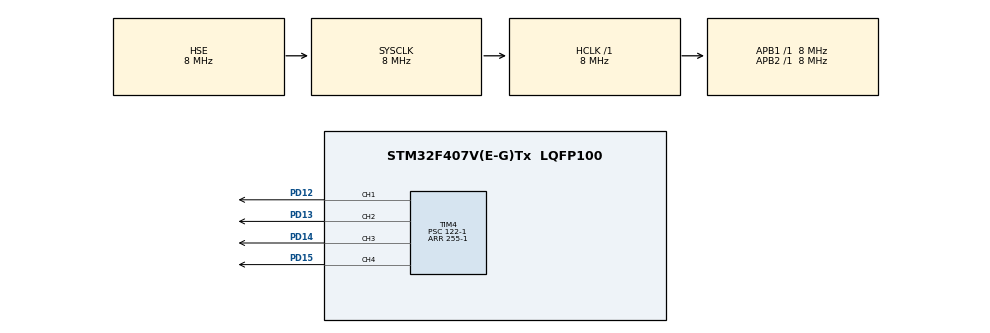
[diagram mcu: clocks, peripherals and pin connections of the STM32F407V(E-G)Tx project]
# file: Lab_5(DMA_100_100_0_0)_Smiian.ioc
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Dma.Request0=TIM4_CH1
Dma.TIM4_CH1.0.Direction=DMA_MEMORY_TO_PERIPH
Dma.TIM4_CH1.0.FIFOMode=DMA_FIFOMODE_DISABLE
Dma.TIM4_CH1.0.Instance=DMA1_Stream0
Dma.TIM4_CH1.0.MemDataAlignment=DMA_MDATAALIGN_HALFWORD
Dma.TIM4_CH1.0.MemInc=DMA_MINC_ENABLE
Dma.TIM4_CH1.0.Mode=DMA_CIRCULAR
Dma.TIM4_CH1.0.PeriphDataAlignment=DMA_PDATAALIGN_HALFWORD
Dma.TIM4_CH1.0.PeriphInc=DMA_PINC_DISABLE
Dma.TIM4_CH1.0.Priority=DMA_PRIORITY_LOW
Mcu.Family=STM32F4
Mcu.Name=STM32F407V(E-G)Tx
Mcu.Package=LQFP100
NVIC.DMA1_Stream0_IRQn=true\:0\:0\:false\:false\:true\:false\:true\:true
NVIC.PriorityGroup=NVIC_PRIORITYGROUP_4
NVIC.TIM4_IRQn=true\:0\:0\:false\:false\:true\:true\:true\:true
PA13.Mode=Serial_Wire
PA13.Signal=SYS_JTMS-SWDIO
PA14.Mode=Serial_Wire
PA14.Signal=SYS_JTCK-SWCLK
PD12.Signal=S_TIM4_CH1
PD13.Signal=S_TIM4_CH2
PD14.Signal=S_TIM4_CH3
PD15.Signal=S_TIM4_CH4
PH0-OSC_IN.Mode=HSE-External-Oscillator
PH0-OSC_IN.Signal=RCC_OSC_IN
PH1-OSC_OUT.Mode=HSE-External-Oscillator
PH1-OSC_OUT.Signal=RCC_OSC_OUT
ProjectManager.HeapSize=0x200
ProjectManager.StackSize=0x400
ProjectManager.TargetToolchain=MDK-ARM V5.32
RCC.AHBFreq_Value=8000000
RCC.APB1Freq_Value=8000000
RCC.APB1TimFreq_Value=8000000
RCC.APB2Freq_Value=8000000
RCC.APB2TimFreq_Value=8000000
RCC.CortexFreq_Value=8000000
RCC.HCLKFreq_Value=8000000
RCC.HSE_VALUE=8000000
RCC.HSI_VALUE=16000000
RCC.LSE_VALUE=32768
RCC.SYSCLKFreq_VALUE=8000000
RCC.SYSCLKSource=RCC_SYSCLKSOURCE_HSE
RCC.VCOOutputFreq_Value=192000000
SH.S_TIM4_CH1.0=TIM4_CH1,PWM Generation1 CH1
SH.S_TIM4_CH2.0=TIM4_CH2,PWM Generation2 CH2
SH.S_TIM4_CH3.0=TIM4_CH3,PWM Generation3 CH3
SH.S_TIM4_CH4.0=TIM4_CH4,PWM Generation4 CH4
TIM4.AutoReloadPreload=TIM_AUTORELOAD_PRELOAD_DISABLE
TIM4.Channel-PWM\ Generation1\ CH1=TIM_CHANNEL_1
TIM4.Channel-PWM\ Generation2\ CH2=TIM_CHANNEL_2
TIM4.Channel-PWM\ Generation3\ CH3=TIM_CHANNEL_3
TIM4.Channel-PWM\ Generation4\ CH4=TIM_CHANNEL_4
TIM4.OC1Preload_PWM=DISABLE
TIM4.OC2Preload_PWM=DISABLE
TIM4.OC3Preload_PWM=DISABLE
TIM4.OC4Preload_PWM=DISABLE
TIM4.OCFastMode_PWM-PWM\ Generation1\ CH1=TIM_OCFAST_DISABLE
TIM4.OCFastMode_PWM-PWM\ Generation2\ CH2=TIM_OCFAST_DISABLE
TIM4.OCFastMode_PWM-PWM\ Generation3\ CH3=TIM_OCFAST_DISABLE
TIM4.OCFastMode_PWM-PWM\ Generation4\ CH4=TIM_OCFAST_DISABLE
TIM4.OCMode_PWM-PWM\ Generation1\ CH1=TIM_OCMODE_PWM2
TIM4.OCMode_PWM-PWM\ Generation2\ CH2=TIM_OCMODE_PWM2
TIM4.OCMode_PWM-PWM\ Generation3\ CH3=TIM_OCMODE_PWM2
TIM4.OCMode_PWM-PWM\ Generation4\ CH4=TIM_OCMODE_PWM2
TIM4.OCPolarity_1=TIM_OCPOLARITY_LOW
TIM4.OCPolarity_2=TIM_OCPOLARITY_LOW
TIM4.OCPolarity_3=TIM_OCPOLARITY_LOW
TIM4.OCPolarity_4=TIM_OCPOLARITY_LOW
TIM4.Period=255-1
TIM4.Prescaler=122-1
VP_TIM4_VS_ClockSourceINT.Mode=Internal
board=custom

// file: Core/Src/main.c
/* USER CODE BEGIN Header */
/**
  ******************************************************************************
  * @file           : main.c
  * @brief          : Main program body
  ******************************************************************************
  * @attention
  *
  * Copyright (c) 2024 STMicroelectronics.
  * All rights reserved.
  *
  * This software is licensed under terms that can be found in the LICENSE file
  * in the root directory of this software component.
  * If no LICENSE file comes with this software, it is provided AS-IS.
  *
  ******************************************************************************
  */
/* USER CODE END Header */
#include "main.h"
#include "dma.h"
#include "tim.h"
#include "gpio.h"

/* USER CODE BEGIN Includes */
#include "tim.h"
#include "gpio.h"
/* USER CODE END Includes */

/* USER CODE BEGIN PTD */
typedef enum
{
    LEDS_PWM_CALLB = 0
}flags_e_t;

typedef enum
{
    RED = 0,
    BLUE,
    GREEN,
    ORANGE,
    LEDS_ALL
}leds_color_e_t;

typedef enum
{
    REVERSE = 0,
    FORWARD
}directions_e_t;

typedef struct
{
    directions_e_t led_dir;
    uint8_t        led_ptr;
    uint32_t       led_ch;
}leds_config_s_t;

leds_config_s_t leds_config[LEDS_ALL] = {0};
/* USER CODE END PTD */

/* USER CODE BEGIN PD */
#define LEDS_PWM_TIM htim4
#define MAX_VALUE 255
#define MIN_VALUE 5
#define LEDS_WAVE_LENGTH 255
/* USER CODE END PD */

/* USER CODE BEGIN PM */
#define __FLAG_SET(flag_bit)   main_flags |= (1 << flag_bit)
#define __FLAG_RESET(flag_bit) main_flags &= (~ (1 << flag_bit))
#define __FLAG_CHECK(flag_bit) main_flags &= (1 << flag_bit)
/* USER CODE END PM */

/* USER CODE BEGIN PV */
uint32_t main_flags = 0;
const uint8_t LEDS_WAVE[LEDS_WAVE_LENGTH] =
{
    0,    0,    0,    0,    0,    0,    0,    0,    0,    0,    1,    1,    1,    1,    1,    1,
    1,    1,    1,    2,    2,    2,    2,    2,    2,    2,    2,    3,    3,    3,    3,    3,
    3,    3,    4,    4,    4,    4,    4,    5,    5,    5,    5,    5,    6,    6,    6,    6,
    6,    7,    7,    7,    7,    8,    8,    8,    8,    9,    9,    9,   10,   10,   10,   11,
   11,   11,   12,   12,   12,   13,   13,   13,   14,   14,   14,   15,   15,   16,   16,   16,
   17,   17,   18,   18,   19,   19,   20,   20,   21,   21,   22,   22,   23,   23,   24,   24,
   25,   25,   26,   26,   27,   28,   28,   29,   29,   30,   31,   31,   32,   33,   33,   34,
   35,   35,   36,   37,   37,   38,   39,   40,   40,   41,   42,   43,   44,   44,   45,   46,
   47,   48,   49,   49,   50,   51,   52,   53,   54,   55,   56,   57,   58,   59,   60,   61,
   62,   63,   64,   65,   66,   67,   68,   69,   70,   71,   72,   73,   75,   76,   77,   78,
   79,   80,   82,   83,   84,   85,   87,   88,   89,   90,   92,   93,   94,   96,   97,   99,
  100,  101,  103,  104,  106,  107,  108,  110,  111,  113,  114,  116,  118,  119,  121,  122,
  124,  125,  127,  129,  130,  132,  134,  135,  137,  139,  141,  142,  144,  146,  148,  149,
  151,  153,  155,  157,  159,  161,  162,  164,  166,  168,  170,  172,  174,  176,  178,  180,
  182,  185,  187,  189,  191,  193,  195,  197,  200,  202,  204,  206,  208,  211,  213,  215,
  218,  220,  222,  225,  227,  230,  232,  234,  237,  239,  242,  244,  247,  249,  252,  255,
};
/* USER CODE END PV */

void SystemClock_Config(void);
/* USER CODE BEGIN PFP */
void LEDS_PWM_Start (uint8_t RED_Start_Point, uint8_t BLUE_Start_Point, uint8_t GREEN_Start_Point, uint8_t ORANGE_Start_Point);
void LEDS_PWM_Step ();
/* USER CODE END PFP */

/* USER CODE BEGIN 0 */
void Leds_PWM_Start (uint8_t RED_Start_Point, uint8_t BLUE_Start_Point, uint8_t GREEN_Start_Point, uint8_t ORANGE_Start_Point)
{
    uint8_t start_points [LEDS_ALL] = {RED_Start_Point, BLUE_Start_Point, GREEN_Start_Point, ORANGE_Start_Point};
    for(leds_color_e_t color = RED; color < LEDS_ALL; color++)
    {
        leds_config[color].led_dir = FORWARD;
        if (start_points [color] > MAX_VALUE)
        {
            leds_config[color].led_ptr = MAX_VALUE;
        }
        else
        {
            leds_config[color].led_ptr = start_points[color];
        }
    }
    leds_config[RED].led_ch    = TIM_CHANNEL_1;
    leds_config[BLUE].led_ch   = TIM_CHANNEL_2;
    leds_config[GREEN].led_ch  = TIM_CHANNEL_3;
    leds_config[ORANGE].led_ch = TIM_CHANNEL_4;
    __HAL_TIM_ENABLE_IT (&LEDS_PWM_TIM, TIM_IT_UPDATE);
    HAL_TIM_PWM_Start (&LEDS_PWM_TIM, leds_config[RED].led_ch);
    HAL_TIM_PWM_Start (&LEDS_PWM_TIM, leds_config[BLUE].led_ch);
    HAL_TIM_PWM_Start (&LEDS_PWM_TIM, leds_config[GREEN].led_ch);
    HAL_TIM_PWM_Start (&LEDS_PWM_TIM, leds_config[ORANGE].led_ch);
}

void Leds_PWM_Step ()
{
    for (leds_color_e_t color = RED; color < LEDS_ALL; color++)
    {
        switch (leds_config[color].led_dir)
        {
            case FORWARD:
            {
                if (leds_config[color].led_ptr == (LEDS_WAVE_LENGTH - 1))
                {
                    leds_config[color].led_dir = REVERSE;
                }
                else
                {
                    leds_config[color].led_ptr++;
                }
                break;
            }
            case REVERSE:
            {
                if (leds_config[color].led_ptr == 0)
                {
                    leds_config[color].led_dir = FORWARD;
                }
                else
                {
                    leds_config[color].led_ptr--;
                }
                break;
            }
            default:
            {
                break;
            }
        }
    __HAL_TIM_SET_COMPARE(&LEDS_PWM_TIM, leds_config[color].led_ch, LEDS_WAVE[leds_config[color].led_ptr]);
    }
}
/* USER CODE END 0 */

int main(void)
{

  /* MCU Configuration--------------------------------------------------------*/

  /* Reset of all peripherals, Initializes the Flash interface and the Systick. */
  HAL_Init();

  /* Configure the system clock */
  SystemClock_Config();

  /* Initialize all configured peripherals */
  MX_GPIO_Init();
  MX_DMA_Init();
  MX_TIM4_Init();
  /* USER CODE BEGIN 2 */
  //Leds_PWM_Start((LEDS_WAVE_LENGTH/2), 0, (LEDS_WAVE_LENGTH/2), 0);
  HAL_TIM_PWM_Start_DMA(&LEDS_PWM_TIM, TIM_CHANNEL_1, (const uint32_t *) LEDS_WAVE, (uint16_t) LEDS_WAVE_LENGTH);
  /* USER CODE END 2 */

  /* Infinite loop */
  /* USER CODE BEGIN WHILE */
  while (1)
  {

      if (__FLAG_CHECK(LEDS_PWM_CALLB))
      {
          //Leds_PWM_Step();
          __FLAG_RESET(LEDS_PWM_CALLB);
      }
    /* USER CODE END WHILE */

  }
}

void SystemClock_Config(void)
{
  RCC_OscInitTypeDef RCC_OscInitStruct = {0};
  RCC_ClkInitTypeDef RCC_ClkInitStruct = {0};

  /** Configure the main internal regulator output voltage
  */
  __HAL_RCC_PWR_CLK_ENABLE();
  __HAL_PWR_VOLTAGESCALING_CONFIG(PWR_REGULATOR_VOLTAGE_SCALE1);

  /** Initializes the RCC Oscillators according to the specified parameters
  * in the RCC_OscInitTypeDef structure.
  */
  RCC_OscInitStruct.OscillatorType = RCC_OSCILLATORTYPE_HSE;
  RCC_OscInitStruct.HSEState = RCC_HSE_ON;
  RCC_OscInitStruct.PLL.PLLState = RCC_PLL_NONE;
  if (HAL_RCC_OscConfig(&RCC_OscInitStruct) != HAL_OK)
  {
    Error_Handler();
  }

  /** Initializes the CPU, AHB and APB buses clocks
  */
  RCC_ClkInitStruct.ClockType = RCC_CLOCKTYPE_HCLK|RCC_CLOCKTYPE_SYSCLK
                              |RCC_CLOCKTYPE_PCLK1|RCC_CLOCKTYPE_PCLK2;
  RCC_ClkInitStruct.SYSCLKSource = RCC_SYSCLKSOURCE_HSE;
  RCC_ClkInitStruct.AHBCLKDivider = RCC_SYSCLK_DIV1;
  RCC_ClkInitStruct.APB1CLKDivider = RCC_HCLK_DIV1;
  RCC_ClkInitStruct.APB2CLKDivider = RCC_HCLK_DIV1;

  if (HAL_RCC_ClockConfig(&RCC_ClkInitStruct, FLASH_LATENCY_0) != HAL_OK)
  {
    Error_Handler();
  }
}

/* USER CODE BEGIN 4 */
void HAL_TIM_PeriodElapsedCallback(TIM_HandleTypeDef *htim)
{
    if(htim == &LEDS_PWM_TIM)
    {
        __FLAG_SET(LEDS_PWM_CALLB);
    }
}
/* USER CODE END 4 */

void Error_Handler(void)
{
  __disable_irq();
  while (1)
  {
  }
}
